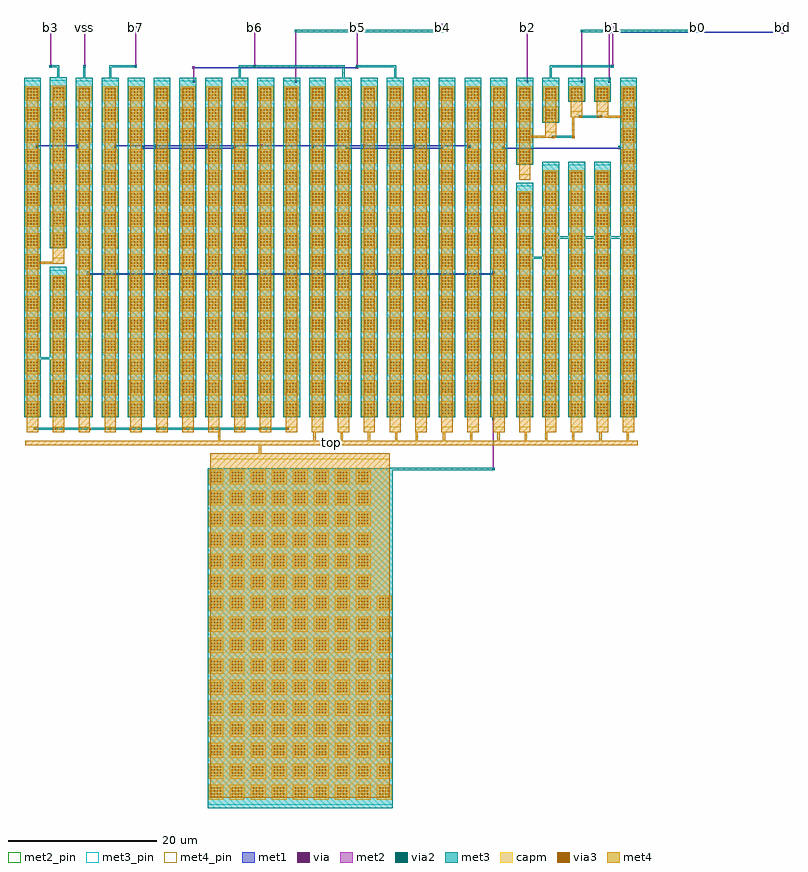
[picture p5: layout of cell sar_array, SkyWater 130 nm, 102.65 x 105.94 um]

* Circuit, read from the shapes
.subckt sar_array b0 b1 b2 b3 b4 b5 b6 b7 bd top vss
XC1 top vss sky130_fd_pr__cap_mim_m3_1 w=2 l=2 m=256
XC2 top b3 sky130_fd_pr__cap_mim_m3_1 w=2 l=1.995 m=8
XC3 top b7 sky130_fd_pr__cap_mim_m3_1 w=2 l=2 m=128
XC4 top b6 sky130_fd_pr__cap_mim_m3_1 w=2 l=2 m=64
XC5 top b5 sky130_fd_pr__cap_mim_m3_1 w=2 l=2 m=32
XC6 top b4 sky130_fd_pr__cap_mim_m3_1 w=2 l=2 m=16
XC7 top b2 sky130_fd_pr__cap_mim_m3_1 w=2 l=1.99 m=4
XC8 top b1 sky130_fd_pr__cap_mim_m3_1 w=2 l=1.975 m=2
XC9 top b0 sky130_fd_pr__cap_mim_m3_1 w=2 l=1.965
XC10 top bd sky130_fd_pr__cap_mim_m3_1 w=2 l=2
.ends

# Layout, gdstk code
import gdstk
lib = gdstk.Library(unit=1e-6, precision=1e-09)
def R(c, l, rs):  # rectangles x0, y0, x1, y1
    for r in rs: c.add(gdstk.rectangle(r[:2], r[2:], *l))
def A(c, l, x, y, w, h, nx, ny, dx, dy):  # array of equal rectangles
    R(c, l, [(x+i*dx, y+j*dy, x+i*dx+w, y+j*dy+h) for i in range(nx) for j in range(ny)])
met1 = (68, 20)
via = (68, 44)
met2_pin = (69, 16)
met2 = (69, 20)
via2 = (69, 44)
met3_pin = (70, 16)
met3 = (70, 20)
via3 = (70, 44)
met4_pin = (71, 16)
met4 = (71, 20)
capm = (89, 44)

cap_mim_m3_1_w2u_l2u_m12 = lib.new_cell('cap_mim_m3_1_w2u_l2u_m12_rows12_flip1')
R(cap_mim_m3_1_w2u_l2u_m12, met3_pin, [(-0.14,33.88,2.14,34.38)])
R(cap_mim_m3_1_w2u_l2u_m12, met3, [(-0.14,-0.14,2.14,34.38)])
A(cap_mim_m3_1_w2u_l2u_m12, via3, 0.3, 0.3, 0.2, 0.2, 4, 4, 0.4, 0.4)
A(cap_mim_m3_1_w2u_l2u_m12, via3, 0.3, 3.14, 0.2, 0.2, 4, 4, 0.4, 0.4)
A(cap_mim_m3_1_w2u_l2u_m12, via3, 0.3, 5.98, 0.2, 0.2, 4, 4, 0.4, 0.4)
A(cap_mim_m3_1_w2u_l2u_m12, via3, 0.3, 8.82, 0.2, 0.2, 4, 4, 0.4, 0.4)
A(cap_mim_m3_1_w2u_l2u_m12, via3, 0.3, 11.66, 0.2, 0.2, 4, 4, 0.4, 0.4)
A(cap_mim_m3_1_w2u_l2u_m12, via3, 0.3, 14.5, 0.2, 0.2, 4, 4, 0.4, 0.4)
A(cap_mim_m3_1_w2u_l2u_m12, via3, 0.3, 17.34, 0.2, 0.2, 4, 4, 0.4, 0.4)
A(cap_mim_m3_1_w2u_l2u_m12, via3, 0.3, 20.18, 0.2, 0.2, 4, 4, 0.4, 0.4)
A(cap_mim_m3_1_w2u_l2u_m12, via3, 0.3, 23.02, 0.2, 0.2, 4, 4, 0.4, 0.4)
A(cap_mim_m3_1_w2u_l2u_m12, via3, 0.3, 25.86, 0.2, 0.2, 4, 4, 0.4, 0.4)
A(cap_mim_m3_1_w2u_l2u_m12, via3, 0.3, 28.7, 0.2, 0.2, 4, 4, 0.4, 0.4)
A(cap_mim_m3_1_w2u_l2u_m12, via3, 0.3, 31.54, 0.2, 0.2, 4, 4, 0.4, 0.4)
R(cap_mim_m3_1_w2u_l2u_m12, met4_pin, [(0.235,-2.19,1.765,-1.39)])
R(cap_mim_m3_1_w2u_l2u_m12, met4, [(0.235,-2.19,1.765,33.005)])
A(cap_mim_m3_1_w2u_l2u_m12, capm, 0, 0, 2, 2, 1, 12, 0, 2.84)
cap_mim_m3_1_w2u_l2u_m12.add(gdstk.Label('P', (1,-1.79), layer=71, texttype=16))
cap_mim_m3_1_w2u_l2u_m12.add(gdstk.Label('N', (1,34.13), layer=70, texttype=16))

cap_mim_m3_1_w2u_l2u_m11 = lib.new_cell('cap_mim_m3_1_w2u_l2u_m11_rows11_flip1')
R(cap_mim_m3_1_w2u_l2u_m11, met3_pin, [(-0.14,31.04,2.14,31.54)])
R(cap_mim_m3_1_w2u_l2u_m11, met3, [(-0.14,-0.14,2.14,31.54)])
A(cap_mim_m3_1_w2u_l2u_m11, via3, 0.3, 0.3, 0.2, 0.2, 4, 4, 0.4, 0.4)
A(cap_mim_m3_1_w2u_l2u_m11, via3, 0.3, 3.14, 0.2, 0.2, 4, 4, 0.4, 0.4)
A(cap_mim_m3_1_w2u_l2u_m11, via3, 0.3, 5.98, 0.2, 0.2, 4, 4, 0.4, 0.4)
A(cap_mim_m3_1_w2u_l2u_m11, via3, 0.3, 8.82, 0.2, 0.2, 4, 4, 0.4, 0.4)
A(cap_mim_m3_1_w2u_l2u_m11, via3, 0.3, 11.66, 0.2, 0.2, 4, 4, 0.4, 0.4)
A(cap_mim_m3_1_w2u_l2u_m11, via3, 0.3, 14.5, 0.2, 0.2, 4, 4, 0.4, 0.4)
A(cap_mim_m3_1_w2u_l2u_m11, via3, 0.3, 17.34, 0.2, 0.2, 4, 4, 0.4, 0.4)
A(cap_mim_m3_1_w2u_l2u_m11, via3, 0.3, 20.18, 0.2, 0.2, 4, 4, 0.4, 0.4)
A(cap_mim_m3_1_w2u_l2u_m11, via3, 0.3, 23.02, 0.2, 0.2, 4, 4, 0.4, 0.4)
A(cap_mim_m3_1_w2u_l2u_m11, via3, 0.3, 25.86, 0.2, 0.2, 4, 4, 0.4, 0.4)
A(cap_mim_m3_1_w2u_l2u_m11, via3, 0.3, 28.7, 0.2, 0.2, 4, 4, 0.4, 0.4)
R(cap_mim_m3_1_w2u_l2u_m11, met4_pin, [(0.235,-2.19,1.765,-1.39)])
R(cap_mim_m3_1_w2u_l2u_m11, met4, [(0.235,-2.19,1.765,30.165)])
A(cap_mim_m3_1_w2u_l2u_m11, capm, 0, 0, 2, 2, 1, 11, 0, 2.84)
cap_mim_m3_1_w2u_l2u_m11.add(gdstk.Label('P', (1,-1.79), layer=71, texttype=16))
cap_mim_m3_1_w2u_l2u_m11.add(gdstk.Label('N', (1,31.29), layer=70, texttype=16))

pin_met2_w0p3u_l1u = lib.new_cell('pin_met2_w0p3u_l1u')
R(pin_met2_w0p3u_l1u, met2_pin, [(0,0,0.3,1)])
R(pin_met2_w0p3u_l1u, met2, [(0,0,0.3,1)])
pin_met2_w0p3u_l1u.add(gdstk.Label('P', (0.15,0.5), layer=69, texttype=16))

cap_mim_m3_1_w2u_l2u_m16 = lib.new_cell('cap_mim_m3_1_w2u_l2u_m16_rows16_flip1')
R(cap_mim_m3_1_w2u_l2u_m16, met3_pin, [(-0.14,45.24,2.14,45.74)])
R(cap_mim_m3_1_w2u_l2u_m16, met3, [(-0.14,-0.14,2.14,45.74)])
A(cap_mim_m3_1_w2u_l2u_m16, via3, 0.3, 0.3, 0.2, 0.2, 4, 4, 0.4, 0.4)
A(cap_mim_m3_1_w2u_l2u_m16, via3, 0.3, 3.14, 0.2, 0.2, 4, 4, 0.4, 0.4)
A(cap_mim_m3_1_w2u_l2u_m16, via3, 0.3, 5.98, 0.2, 0.2, 4, 4, 0.4, 0.4)
A(cap_mim_m3_1_w2u_l2u_m16, via3, 0.3, 8.82, 0.2, 0.2, 4, 4, 0.4, 0.4)
A(cap_mim_m3_1_w2u_l2u_m16, via3, 0.3, 11.66, 0.2, 0.2, 4, 4, 0.4, 0.4)
A(cap_mim_m3_1_w2u_l2u_m16, via3, 0.3, 14.5, 0.2, 0.2, 4, 4, 0.4, 0.4)
A(cap_mim_m3_1_w2u_l2u_m16, via3, 0.3, 17.34, 0.2, 0.2, 4, 4, 0.4, 0.4)
A(cap_mim_m3_1_w2u_l2u_m16, via3, 0.3, 20.18, 0.2, 0.2, 4, 4, 0.4, 0.4)
A(cap_mim_m3_1_w2u_l2u_m16, via3, 0.3, 23.02, 0.2, 0.2, 4, 4, 0.4, 0.4)
A(cap_mim_m3_1_w2u_l2u_m16, via3, 0.3, 25.86, 0.2, 0.2, 4, 4, 0.4, 0.4)
A(cap_mim_m3_1_w2u_l2u_m16, via3, 0.3, 28.7, 0.2, 0.2, 4, 4, 0.4, 0.4)
A(cap_mim_m3_1_w2u_l2u_m16, via3, 0.3, 31.54, 0.2, 0.2, 4, 4, 0.4, 0.4)
A(cap_mim_m3_1_w2u_l2u_m16, via3, 0.3, 34.38, 0.2, 0.2, 4, 4, 0.4, 0.4)
A(cap_mim_m3_1_w2u_l2u_m16, via3, 0.3, 37.22, 0.2, 0.2, 4, 4, 0.4, 0.4)
A(cap_mim_m3_1_w2u_l2u_m16, via3, 0.3, 40.06, 0.2, 0.2, 4, 4, 0.4, 0.4)
A(cap_mim_m3_1_w2u_l2u_m16, via3, 0.3, 42.9, 0.2, 0.2, 4, 4, 0.4, 0.4)
R(cap_mim_m3_1_w2u_l2u_m16, met4_pin, [(0.235,-2.19,1.765,-1.39)])
R(cap_mim_m3_1_w2u_l2u_m16, met4, [(0.235,-2.19,1.765,44.365)])
A(cap_mim_m3_1_w2u_l2u_m16, capm, 0, 0, 2, 2, 1, 16, 0, 2.84)
cap_mim_m3_1_w2u_l2u_m16.add(gdstk.Label('P', (1,-1.79), layer=71, texttype=16))
cap_mim_m3_1_w2u_l2u_m16.add(gdstk.Label('N', (1,45.49), layer=70, texttype=16))

cap_mim_m3_1_w2u_l2u_m7_ = lib.new_cell('cap_mim_m3_1_w2u_l2u_m7_rows7_flip1')
R(cap_mim_m3_1_w2u_l2u_m7_, met3_pin, [(-0.14,19.68,2.14,20.18)])
R(cap_mim_m3_1_w2u_l2u_m7_, met3, [(-0.14,-0.14,2.14,20.18)])
A(cap_mim_m3_1_w2u_l2u_m7_, via3, 0.3, 0.3, 0.2, 0.2, 4, 4, 0.4, 0.4)
A(cap_mim_m3_1_w2u_l2u_m7_, via3, 0.3, 3.14, 0.2, 0.2, 4, 4, 0.4, 0.4)
A(cap_mim_m3_1_w2u_l2u_m7_, via3, 0.3, 5.98, 0.2, 0.2, 4, 4, 0.4, 0.4)
A(cap_mim_m3_1_w2u_l2u_m7_, via3, 0.3, 8.82, 0.2, 0.2, 4, 4, 0.4, 0.4)
A(cap_mim_m3_1_w2u_l2u_m7_, via3, 0.3, 11.66, 0.2, 0.2, 4, 4, 0.4, 0.4)
A(cap_mim_m3_1_w2u_l2u_m7_, via3, 0.3, 14.5, 0.2, 0.2, 4, 4, 0.4, 0.4)
A(cap_mim_m3_1_w2u_l2u_m7_, via3, 0.3, 17.34, 0.2, 0.2, 4, 4, 0.4, 0.4)
R(cap_mim_m3_1_w2u_l2u_m7_, met4_pin, [(0.235,-2.19,1.765,-1.39)])
R(cap_mim_m3_1_w2u_l2u_m7_, met4, [(0.235,-2.19,1.765,18.805)])
A(cap_mim_m3_1_w2u_l2u_m7_, capm, 0, 0, 2, 2, 1, 7, 0, 2.84)
cap_mim_m3_1_w2u_l2u_m7_.add(gdstk.Label('P', (1,-1.79), layer=71, texttype=16))
cap_mim_m3_1_w2u_l2u_m7_.add(gdstk.Label('N', (1,19.93), layer=70, texttype=16))

cap_mim_m3_1_w2u_l1p975u = lib.new_cell('cap_mim_m3_1_w2u_l1p975u_m2_rows2_flip1')
R(cap_mim_m3_1_w2u_l1p975u, met3_pin, [(-0.14,5.43,2.14,5.93)])
R(cap_mim_m3_1_w2u_l1p975u, met3, [(-0.14,-0.14,2.14,5.93)])
A(cap_mim_m3_1_w2u_l1p975u, via3, 0.3, 0.285, 0.2, 0.2, 4, 4, 0.4, 0.4)
A(cap_mim_m3_1_w2u_l1p975u, via3, 0.3, 3.1, 0.2, 0.2, 4, 4, 0.4, 0.4)
R(cap_mim_m3_1_w2u_l1p975u, met4_pin, [(0.235,-2.19,1.765,-1.39)])
R(cap_mim_m3_1_w2u_l1p975u, met4, [(0.235,-2.19,1.765,4.565)])
R(cap_mim_m3_1_w2u_l1p975u, capm, [(0,0,2,1.975), (0,2.815,2,4.79)])
cap_mim_m3_1_w2u_l1p975u.add(gdstk.Label('P', (1,-1.79), layer=71, texttype=16))
cap_mim_m3_1_w2u_l1p975u.add(gdstk.Label('N', (1,5.68), layer=70, texttype=16))

cap_mim_m3_1_w2u_l1p995u = lib.new_cell('cap_mim_m3_1_w2u_l1p995u_m8_rows8_flip1')
R(cap_mim_m3_1_w2u_l1p995u, met3_pin, [(-0.14,22.48,2.14,22.98)])
R(cap_mim_m3_1_w2u_l1p995u, met3, [(-0.14,-0.14,2.14,22.98)])
A(cap_mim_m3_1_w2u_l1p995u, via3, 0.3, 0.295, 0.2, 0.2, 4, 4, 0.4, 0.4)
A(cap_mim_m3_1_w2u_l1p995u, via3, 0.3, 3.13, 0.2, 0.2, 4, 4, 0.4, 0.4)
A(cap_mim_m3_1_w2u_l1p995u, via3, 0.3, 5.965, 0.2, 0.2, 4, 4, 0.4, 0.4)
A(cap_mim_m3_1_w2u_l1p995u, via3, 0.3, 8.8, 0.2, 0.2, 4, 4, 0.4, 0.4)
A(cap_mim_m3_1_w2u_l1p995u, via3, 0.3, 11.635, 0.2, 0.2, 4, 4, 0.4, 0.4)
A(cap_mim_m3_1_w2u_l1p995u, via3, 0.3, 14.47, 0.2, 0.2, 4, 4, 0.4, 0.4)
A(cap_mim_m3_1_w2u_l1p995u, via3, 0.3, 17.305, 0.2, 0.2, 4, 4, 0.4, 0.4)
A(cap_mim_m3_1_w2u_l1p995u, via3, 0.3, 20.14, 0.2, 0.2, 4, 4, 0.4, 0.4)
R(cap_mim_m3_1_w2u_l1p995u, met4_pin, [(0.235,-2.19,1.765,-1.39)])
R(cap_mim_m3_1_w2u_l1p995u, met4, [(0.235,-2.19,1.765,21.605)])
A(cap_mim_m3_1_w2u_l1p995u, capm, 0, 0, 2, 1.995, 1, 8, 0, 2.835)
cap_mim_m3_1_w2u_l1p995u.add(gdstk.Label('P', (1,-1.79), layer=71, texttype=16))
cap_mim_m3_1_w2u_l1p995u.add(gdstk.Label('N', (1,22.73), layer=70, texttype=16))

cap_mim_m3_1_w2u_l2u_m1_ = lib.new_cell('cap_mim_m3_1_w2u_l2u_m1_rows1_flip1')
R(cap_mim_m3_1_w2u_l2u_m1_, met3_pin, [(-0.14,2.64,2.14,3.14)])
R(cap_mim_m3_1_w2u_l2u_m1_, met3, [(-0.14,-0.14,2.14,3.14)])
A(cap_mim_m3_1_w2u_l2u_m1_, via3, 0.3, 0.3, 0.2, 0.2, 4, 4, 0.4, 0.4)
R(cap_mim_m3_1_w2u_l2u_m1_, met4_pin, [(0.235,-2.19,1.765,-1.39)])
R(cap_mim_m3_1_w2u_l2u_m1_, met4, [(0.235,-2.19,1.765,1.765)])
R(cap_mim_m3_1_w2u_l2u_m1_, capm, [(0,0,2,2)])
cap_mim_m3_1_w2u_l2u_m1_.add(gdstk.Label('P', (1,-1.79), layer=71, texttype=16))
cap_mim_m3_1_w2u_l2u_m1_.add(gdstk.Label('N', (1,2.89), layer=70, texttype=16))

cap_mim_m3_1_w2u_l2u_m13 = lib.new_cell('cap_mim_m3_1_w2u_l2u_m138_rows16_flip0')
R(cap_mim_m3_1_w2u_l2u_m13, met3_pin, [(-0.14,-1.14,24.86,-0.64)])
R(cap_mim_m3_1_w2u_l2u_m13, met3, [(-0.14,-1.14,24.86,44.74)])
A(cap_mim_m3_1_w2u_l2u_m13, via3, 0.3, 0.3, 0.2, 0.2, 4, 4, 0.4, 0.4)
A(cap_mim_m3_1_w2u_l2u_m13, via3, 3.14, 0.3, 0.2, 0.2, 4, 4, 0.4, 0.4)
A(cap_mim_m3_1_w2u_l2u_m13, via3, 5.98, 0.3, 0.2, 0.2, 4, 4, 0.4, 0.4)
A(cap_mim_m3_1_w2u_l2u_m13, via3, 8.82, 0.3, 0.2, 0.2, 4, 4, 0.4, 0.4)
A(cap_mim_m3_1_w2u_l2u_m13, via3, 11.66, 0.3, 0.2, 0.2, 4, 4, 0.4, 0.4)
A(cap_mim_m3_1_w2u_l2u_m13, via3, 14.5, 0.3, 0.2, 0.2, 4, 4, 0.4, 0.4)
A(cap_mim_m3_1_w2u_l2u_m13, via3, 17.34, 0.3, 0.2, 0.2, 4, 4, 0.4, 0.4)
A(cap_mim_m3_1_w2u_l2u_m13, via3, 20.18, 0.3, 0.2, 0.2, 4, 4, 0.4, 0.4)
A(cap_mim_m3_1_w2u_l2u_m13, via3, 23.02, 0.3, 0.2, 0.2, 4, 4, 0.4, 0.4)
A(cap_mim_m3_1_w2u_l2u_m13, via3, 0.3, 3.14, 0.2, 0.2, 4, 4, 0.4, 0.4)
A(cap_mim_m3_1_w2u_l2u_m13, via3, 3.14, 3.14, 0.2, 0.2, 4, 4, 0.4, 0.4)
A(cap_mim_m3_1_w2u_l2u_m13, via3, 5.98, 3.14, 0.2, 0.2, 4, 4, 0.4, 0.4)
A(cap_mim_m3_1_w2u_l2u_m13, via3, 8.82, 3.14, 0.2, 0.2, 4, 4, 0.4, 0.4)
A(cap_mim_m3_1_w2u_l2u_m13, via3, 11.66, 3.14, 0.2, 0.2, 4, 4, 0.4, 0.4)
A(cap_mim_m3_1_w2u_l2u_m13, via3, 14.5, 3.14, 0.2, 0.2, 4, 4, 0.4, 0.4)
A(cap_mim_m3_1_w2u_l2u_m13, via3, 17.34, 3.14, 0.2, 0.2, 4, 4, 0.4, 0.4)
A(cap_mim_m3_1_w2u_l2u_m13, via3, 20.18, 3.14, 0.2, 0.2, 4, 4, 0.4, 0.4)
A(cap_mim_m3_1_w2u_l2u_m13, via3, 23.02, 3.14, 0.2, 0.2, 4, 4, 0.4, 0.4)
A(cap_mim_m3_1_w2u_l2u_m13, via3, 0.3, 5.98, 0.2, 0.2, 4, 4, 0.4, 0.4)
A(cap_mim_m3_1_w2u_l2u_m13, via3, 3.14, 5.98, 0.2, 0.2, 4, 4, 0.4, 0.4)
A(cap_mim_m3_1_w2u_l2u_m13, via3, 5.98, 5.98, 0.2, 0.2, 4, 4, 0.4, 0.4)
A(cap_mim_m3_1_w2u_l2u_m13, via3, 8.82, 5.98, 0.2, 0.2, 4, 4, 0.4, 0.4)
A(cap_mim_m3_1_w2u_l2u_m13, via3, 11.66, 5.98, 0.2, 0.2, 4, 4, 0.4, 0.4)
A(cap_mim_m3_1_w2u_l2u_m13, via3, 14.5, 5.98, 0.2, 0.2, 4, 4, 0.4, 0.4)
A(cap_mim_m3_1_w2u_l2u_m13, via3, 17.34, 5.98, 0.2, 0.2, 4, 4, 0.4, 0.4)
A(cap_mim_m3_1_w2u_l2u_m13, via3, 20.18, 5.98, 0.2, 0.2, 4, 4, 0.4, 0.4)
A(cap_mim_m3_1_w2u_l2u_m13, via3, 23.02, 5.98, 0.2, 0.2, 4, 4, 0.4, 0.4)
A(cap_mim_m3_1_w2u_l2u_m13, via3, 0.3, 8.82, 0.2, 0.2, 4, 4, 0.4, 0.4)
A(cap_mim_m3_1_w2u_l2u_m13, via3, 3.14, 8.82, 0.2, 0.2, 4, 4, 0.4, 0.4)
A(cap_mim_m3_1_w2u_l2u_m13, via3, 5.98, 8.82, 0.2, 0.2, 4, 4, 0.4, 0.4)
A(cap_mim_m3_1_w2u_l2u_m13, via3, 8.82, 8.82, 0.2, 0.2, 4, 4, 0.4, 0.4)
A(cap_mim_m3_1_w2u_l2u_m13, via3, 11.66, 8.82, 0.2, 0.2, 4, 4, 0.4, 0.4)
A(cap_mim_m3_1_w2u_l2u_m13, via3, 14.5, 8.82, 0.2, 0.2, 4, 4, 0.4, 0.4)
A(cap_mim_m3_1_w2u_l2u_m13, via3, 17.34, 8.82, 0.2, 0.2, 4, 4, 0.4, 0.4)
A(cap_mim_m3_1_w2u_l2u_m13, via3, 20.18, 8.82, 0.2, 0.2, 4, 4, 0.4, 0.4)
A(cap_mim_m3_1_w2u_l2u_m13, via3, 23.02, 8.82, 0.2, 0.2, 4, 4, 0.4, 0.4)
A(cap_mim_m3_1_w2u_l2u_m13, via3, 0.3, 11.66, 0.2, 0.2, 4, 4, 0.4, 0.4)
A(cap_mim_m3_1_w2u_l2u_m13, via3, 3.14, 11.66, 0.2, 0.2, 4, 4, 0.4, 0.4)
A(cap_mim_m3_1_w2u_l2u_m13, via3, 5.98, 11.66, 0.2, 0.2, 4, 4, 0.4, 0.4)
A(cap_mim_m3_1_w2u_l2u_m13, via3, 8.82, 11.66, 0.2, 0.2, 4, 4, 0.4, 0.4)
A(cap_mim_m3_1_w2u_l2u_m13, via3, 11.66, 11.66, 0.2, 0.2, 4, 4, 0.4, 0.4)
A(cap_mim_m3_1_w2u_l2u_m13, via3, 14.5, 11.66, 0.2, 0.2, 4, 4, 0.4, 0.4)
A(cap_mim_m3_1_w2u_l2u_m13, via3, 17.34, 11.66, 0.2, 0.2, 4, 4, 0.4, 0.4)
A(cap_mim_m3_1_w2u_l2u_m13, via3, 20.18, 11.66, 0.2, 0.2, 4, 4, 0.4, 0.4)
A(cap_mim_m3_1_w2u_l2u_m13, via3, 23.02, 11.66, 0.2, 0.2, 4, 4, 0.4, 0.4)
A(cap_mim_m3_1_w2u_l2u_m13, via3, 0.3, 14.5, 0.2, 0.2, 4, 4, 0.4, 0.4)
A(cap_mim_m3_1_w2u_l2u_m13, via3, 3.14, 14.5, 0.2, 0.2, 4, 4, 0.4, 0.4)
A(cap_mim_m3_1_w2u_l2u_m13, via3, 5.98, 14.5, 0.2, 0.2, 4, 4, 0.4, 0.4)
A(cap_mim_m3_1_w2u_l2u_m13, via3, 8.82, 14.5, 0.2, 0.2, 4, 4, 0.4, 0.4)
A(cap_mim_m3_1_w2u_l2u_m13, via3, 11.66, 14.5, 0.2, 0.2, 4, 4, 0.4, 0.4)
A(cap_mim_m3_1_w2u_l2u_m13, via3, 14.5, 14.5, 0.2, 0.2, 4, 4, 0.4, 0.4)
A(cap_mim_m3_1_w2u_l2u_m13, via3, 17.34, 14.5, 0.2, 0.2, 4, 4, 0.4, 0.4)
A(cap_mim_m3_1_w2u_l2u_m13, via3, 20.18, 14.5, 0.2, 0.2, 4, 4, 0.4, 0.4)
A(cap_mim_m3_1_w2u_l2u_m13, via3, 23.02, 14.5, 0.2, 0.2, 4, 4, 0.4, 0.4)
A(cap_mim_m3_1_w2u_l2u_m13, via3, 0.3, 17.34, 0.2, 0.2, 4, 4, 0.4, 0.4)
A(cap_mim_m3_1_w2u_l2u_m13, via3, 3.14, 17.34, 0.2, 0.2, 4, 4, 0.4, 0.4)
A(cap_mim_m3_1_w2u_l2u_m13, via3, 5.98, 17.34, 0.2, 0.2, 4, 4, 0.4, 0.4)
A(cap_mim_m3_1_w2u_l2u_m13, via3, 8.82, 17.34, 0.2, 0.2, 4, 4, 0.4, 0.4)
A(cap_mim_m3_1_w2u_l2u_m13, via3, 11.66, 17.34, 0.2, 0.2, 4, 4, 0.4, 0.4)
A(cap_mim_m3_1_w2u_l2u_m13, via3, 14.5, 17.34, 0.2, 0.2, 4, 4, 0.4, 0.4)
A(cap_mim_m3_1_w2u_l2u_m13, via3, 17.34, 17.34, 0.2, 0.2, 4, 4, 0.4, 0.4)
A(cap_mim_m3_1_w2u_l2u_m13, via3, 20.18, 17.34, 0.2, 0.2, 4, 4, 0.4, 0.4)
A(cap_mim_m3_1_w2u_l2u_m13, via3, 23.02, 17.34, 0.2, 0.2, 4, 4, 0.4, 0.4)
A(cap_mim_m3_1_w2u_l2u_m13, via3, 0.3, 20.18, 0.2, 0.2, 4, 4, 0.4, 0.4)
A(cap_mim_m3_1_w2u_l2u_m13, via3, 3.14, 20.18, 0.2, 0.2, 4, 4, 0.4, 0.4)
A(cap_mim_m3_1_w2u_l2u_m13, via3, 5.98, 20.18, 0.2, 0.2, 4, 4, 0.4, 0.4)
A(cap_mim_m3_1_w2u_l2u_m13, via3, 8.82, 20.18, 0.2, 0.2, 4, 4, 0.4, 0.4)
A(cap_mim_m3_1_w2u_l2u_m13, via3, 11.66, 20.18, 0.2, 0.2, 4, 4, 0.4, 0.4)
A(cap_mim_m3_1_w2u_l2u_m13, via3, 14.5, 20.18, 0.2, 0.2, 4, 4, 0.4, 0.4)
A(cap_mim_m3_1_w2u_l2u_m13, via3, 17.34, 20.18, 0.2, 0.2, 4, 4, 0.4, 0.4)
A(cap_mim_m3_1_w2u_l2u_m13, via3, 20.18, 20.18, 0.2, 0.2, 4, 4, 0.4, 0.4)
A(cap_mim_m3_1_w2u_l2u_m13, via3, 23.02, 20.18, 0.2, 0.2, 4, 4, 0.4, 0.4)
A(cap_mim_m3_1_w2u_l2u_m13, via3, 0.3, 23.02, 0.2, 0.2, 4, 4, 0.4, 0.4)
A(cap_mim_m3_1_w2u_l2u_m13, via3, 3.14, 23.02, 0.2, 0.2, 4, 4, 0.4, 0.4)
A(cap_mim_m3_1_w2u_l2u_m13, via3, 5.98, 23.02, 0.2, 0.2, 4, 4, 0.4, 0.4)
A(cap_mim_m3_1_w2u_l2u_m13, via3, 8.82, 23.02, 0.2, 0.2, 4, 4, 0.4, 0.4)
A(cap_mim_m3_1_w2u_l2u_m13, via3, 11.66, 23.02, 0.2, 0.2, 4, 4, 0.4, 0.4)
A(cap_mim_m3_1_w2u_l2u_m13, via3, 14.5, 23.02, 0.2, 0.2, 4, 4, 0.4, 0.4)
A(cap_mim_m3_1_w2u_l2u_m13, via3, 17.34, 23.02, 0.2, 0.2, 4, 4, 0.4, 0.4)
A(cap_mim_m3_1_w2u_l2u_m13, via3, 20.18, 23.02, 0.2, 0.2, 4, 4, 0.4, 0.4)
A(cap_mim_m3_1_w2u_l2u_m13, via3, 23.02, 23.02, 0.2, 0.2, 4, 4, 0.4, 0.4)
A(cap_mim_m3_1_w2u_l2u_m13, via3, 0.3, 25.86, 0.2, 0.2, 4, 4, 0.4, 0.4)
A(cap_mim_m3_1_w2u_l2u_m13, via3, 3.14, 25.86, 0.2, 0.2, 4, 4, 0.4, 0.4)
A(cap_mim_m3_1_w2u_l2u_m13, via3, 5.98, 25.86, 0.2, 0.2, 4, 4, 0.4, 0.4)
A(cap_mim_m3_1_w2u_l2u_m13, via3, 8.82, 25.86, 0.2, 0.2, 4, 4, 0.4, 0.4)
A(cap_mim_m3_1_w2u_l2u_m13, via3, 11.66, 25.86, 0.2, 0.2, 4, 4, 0.4, 0.4)
A(cap_mim_m3_1_w2u_l2u_m13, via3, 14.5, 25.86, 0.2, 0.2, 4, 4, 0.4, 0.4)
A(cap_mim_m3_1_w2u_l2u_m13, via3, 17.34, 25.86, 0.2, 0.2, 4, 4, 0.4, 0.4)
A(cap_mim_m3_1_w2u_l2u_m13, via3, 20.18, 25.86, 0.2, 0.2, 4, 4, 0.4, 0.4)
A(cap_mim_m3_1_w2u_l2u_m13, via3, 23.02, 25.86, 0.2, 0.2, 4, 4, 0.4, 0.4)
A(cap_mim_m3_1_w2u_l2u_m13, via3, 0.3, 28.7, 0.2, 0.2, 4, 4, 0.4, 0.4)
A(cap_mim_m3_1_w2u_l2u_m13, via3, 3.14, 28.7, 0.2, 0.2, 4, 4, 0.4, 0.4)
A(cap_mim_m3_1_w2u_l2u_m13, via3, 5.98, 28.7, 0.2, 0.2, 4, 4, 0.4, 0.4)
A(cap_mim_m3_1_w2u_l2u_m13, via3, 8.82, 28.7, 0.2, 0.2, 4, 4, 0.4, 0.4)
A(cap_mim_m3_1_w2u_l2u_m13, via3, 11.66, 28.7, 0.2, 0.2, 4, 4, 0.4, 0.4)
A(cap_mim_m3_1_w2u_l2u_m13, via3, 14.5, 28.7, 0.2, 0.2, 4, 4, 0.4, 0.4)
A(cap_mim_m3_1_w2u_l2u_m13, via3, 17.34, 28.7, 0.2, 0.2, 4, 4, 0.4, 0.4)
A(cap_mim_m3_1_w2u_l2u_m13, via3, 20.18, 28.7, 0.2, 0.2, 4, 4, 0.4, 0.4)
A(cap_mim_m3_1_w2u_l2u_m13, via3, 0.3, 31.54, 0.2, 0.2, 4, 4, 0.4, 0.4)
A(cap_mim_m3_1_w2u_l2u_m13, via3, 3.14, 31.54, 0.2, 0.2, 4, 4, 0.4, 0.4)
A(cap_mim_m3_1_w2u_l2u_m13, via3, 5.98, 31.54, 0.2, 0.2, 4, 4, 0.4, 0.4)
A(cap_mim_m3_1_w2u_l2u_m13, via3, 8.82, 31.54, 0.2, 0.2, 4, 4, 0.4, 0.4)
A(cap_mim_m3_1_w2u_l2u_m13, via3, 11.66, 31.54, 0.2, 0.2, 4, 4, 0.4, 0.4)
A(cap_mim_m3_1_w2u_l2u_m13, via3, 14.5, 31.54, 0.2, 0.2, 4, 4, 0.4, 0.4)
A(cap_mim_m3_1_w2u_l2u_m13, via3, 17.34, 31.54, 0.2, 0.2, 4, 4, 0.4, 0.4)
A(cap_mim_m3_1_w2u_l2u_m13, via3, 20.18, 31.54, 0.2, 0.2, 4, 4, 0.4, 0.4)
A(cap_mim_m3_1_w2u_l2u_m13, via3, 0.3, 34.38, 0.2, 0.2, 4, 4, 0.4, 0.4)
A(cap_mim_m3_1_w2u_l2u_m13, via3, 3.14, 34.38, 0.2, 0.2, 4, 4, 0.4, 0.4)
A(cap_mim_m3_1_w2u_l2u_m13, via3, 5.98, 34.38, 0.2, 0.2, 4, 4, 0.4, 0.4)
A(cap_mim_m3_1_w2u_l2u_m13, via3, 8.82, 34.38, 0.2, 0.2, 4, 4, 0.4, 0.4)
A(cap_mim_m3_1_w2u_l2u_m13, via3, 11.66, 34.38, 0.2, 0.2, 4, 4, 0.4, 0.4)
A(cap_mim_m3_1_w2u_l2u_m13, via3, 14.5, 34.38, 0.2, 0.2, 4, 4, 0.4, 0.4)
A(cap_mim_m3_1_w2u_l2u_m13, via3, 17.34, 34.38, 0.2, 0.2, 4, 4, 0.4, 0.4)
A(cap_mim_m3_1_w2u_l2u_m13, via3, 20.18, 34.38, 0.2, 0.2, 4, 4, 0.4, 0.4)
A(cap_mim_m3_1_w2u_l2u_m13, via3, 0.3, 37.22, 0.2, 0.2, 4, 4, 0.4, 0.4)
A(cap_mim_m3_1_w2u_l2u_m13, via3, 3.14, 37.22, 0.2, 0.2, 4, 4, 0.4, 0.4)
A(cap_mim_m3_1_w2u_l2u_m13, via3, 5.98, 37.22, 0.2, 0.2, 4, 4, 0.4, 0.4)
A(cap_mim_m3_1_w2u_l2u_m13, via3, 8.82, 37.22, 0.2, 0.2, 4, 4, 0.4, 0.4)
A(cap_mim_m3_1_w2u_l2u_m13, via3, 11.66, 37.22, 0.2, 0.2, 4, 4, 0.4, 0.4)
A(cap_mim_m3_1_w2u_l2u_m13, via3, 14.5, 37.22, 0.2, 0.2, 4, 4, 0.4, 0.4)
A(cap_mim_m3_1_w2u_l2u_m13, via3, 17.34, 37.22, 0.2, 0.2, 4, 4, 0.4, 0.4)
A(cap_mim_m3_1_w2u_l2u_m13, via3, 20.18, 37.22, 0.2, 0.2, 4, 4, 0.4, 0.4)
A(cap_mim_m3_1_w2u_l2u_m13, via3, 0.3, 40.06, 0.2, 0.2, 4, 4, 0.4, 0.4)
A(cap_mim_m3_1_w2u_l2u_m13, via3, 3.14, 40.06, 0.2, 0.2, 4, 4, 0.4, 0.4)
A(cap_mim_m3_1_w2u_l2u_m13, via3, 5.98, 40.06, 0.2, 0.2, 4, 4, 0.4, 0.4)
A(cap_mim_m3_1_w2u_l2u_m13, via3, 8.82, 40.06, 0.2, 0.2, 4, 4, 0.4, 0.4)
A(cap_mim_m3_1_w2u_l2u_m13, via3, 11.66, 40.06, 0.2, 0.2, 4, 4, 0.4, 0.4)
A(cap_mim_m3_1_w2u_l2u_m13, via3, 14.5, 40.06, 0.2, 0.2, 4, 4, 0.4, 0.4)
A(cap_mim_m3_1_w2u_l2u_m13, via3, 17.34, 40.06, 0.2, 0.2, 4, 4, 0.4, 0.4)
A(cap_mim_m3_1_w2u_l2u_m13, via3, 20.18, 40.06, 0.2, 0.2, 4, 4, 0.4, 0.4)
A(cap_mim_m3_1_w2u_l2u_m13, via3, 0.3, 42.9, 0.2, 0.2, 4, 4, 0.4, 0.4)
A(cap_mim_m3_1_w2u_l2u_m13, via3, 3.14, 42.9, 0.2, 0.2, 4, 4, 0.4, 0.4)
A(cap_mim_m3_1_w2u_l2u_m13, via3, 5.98, 42.9, 0.2, 0.2, 4, 4, 0.4, 0.4)
A(cap_mim_m3_1_w2u_l2u_m13, via3, 8.82, 42.9, 0.2, 0.2, 4, 4, 0.4, 0.4)
A(cap_mim_m3_1_w2u_l2u_m13, via3, 11.66, 42.9, 0.2, 0.2, 4, 4, 0.4, 0.4)
A(cap_mim_m3_1_w2u_l2u_m13, via3, 14.5, 42.9, 0.2, 0.2, 4, 4, 0.4, 0.4)
A(cap_mim_m3_1_w2u_l2u_m13, via3, 17.34, 42.9, 0.2, 0.2, 4, 4, 0.4, 0.4)
A(cap_mim_m3_1_w2u_l2u_m13, via3, 20.18, 42.9, 0.2, 0.2, 4, 4, 0.4, 0.4)
R(cap_mim_m3_1_w2u_l2u_m13, met4_pin, [(0.235,45.99,24.485,46.79)])
R(cap_mim_m3_1_w2u_l2u_m13, met4, [(0.235,0.235,24.485,46.79)])
A(cap_mim_m3_1_w2u_l2u_m13, capm, 0, 0, 2, 2, 9, 10, 2.84, 2.84)
A(cap_mim_m3_1_w2u_l2u_m13, capm, 0, 28.4, 2, 2, 8, 6, 2.84, 2.84)
cap_mim_m3_1_w2u_l2u_m13.add(gdstk.Label('P', (12.36,46.39), layer=71, texttype=16))
cap_mim_m3_1_w2u_l2u_m13.add(gdstk.Label('N', (12.36,-0.89), layer=70, texttype=16))

cap_mim_m3_1_w2u_l1p965u = lib.new_cell('cap_mim_m3_1_w2u_l1p965u_m1_rows1_flip1')
R(cap_mim_m3_1_w2u_l1p965u, met3_pin, [(-0.14,2.605,2.14,3.105)])
R(cap_mim_m3_1_w2u_l1p965u, met3, [(-0.14,-0.14,2.14,3.105)])
A(cap_mim_m3_1_w2u_l1p965u, via3, 0.3, 0.28, 0.2, 0.2, 4, 4, 0.4, 0.4)
R(cap_mim_m3_1_w2u_l1p965u, met4_pin, [(0.235,-2.19,1.765,-1.39)])
R(cap_mim_m3_1_w2u_l1p965u, met4, [(0.235,-2.19,1.765,1.745)])
R(cap_mim_m3_1_w2u_l1p965u, capm, [(0,0,2,1.965)])
cap_mim_m3_1_w2u_l1p965u.add(gdstk.Label('P', (1,-1.79), layer=71, texttype=16))
cap_mim_m3_1_w2u_l1p965u.add(gdstk.Label('N', (1,2.855), layer=70, texttype=16))

cap_mim_m3_1_w2u_l1p99u_ = lib.new_cell('cap_mim_m3_1_w2u_l1p99u_m4_rows4_flip1')
R(cap_mim_m3_1_w2u_l1p99u_, met3_pin, [(-0.14,11.12,2.14,11.62)])
R(cap_mim_m3_1_w2u_l1p99u_, met3, [(-0.14,-0.14,2.14,11.62)])
A(cap_mim_m3_1_w2u_l1p99u_, via3, 0.3, 0.295, 0.2, 0.2, 4, 4, 0.4, 0.4)
A(cap_mim_m3_1_w2u_l1p99u_, via3, 0.3, 3.125, 0.2, 0.2, 4, 4, 0.4, 0.4)
A(cap_mim_m3_1_w2u_l1p99u_, via3, 0.3, 5.955, 0.2, 0.2, 4, 4, 0.4, 0.4)
A(cap_mim_m3_1_w2u_l1p99u_, via3, 0.3, 8.785, 0.2, 0.2, 4, 4, 0.4, 0.4)
R(cap_mim_m3_1_w2u_l1p99u_, met4_pin, [(0.235,-2.19,1.765,-1.39)])
R(cap_mim_m3_1_w2u_l1p99u_, met4, [(0.235,-2.19,1.765,10.25)])
A(cap_mim_m3_1_w2u_l1p99u_, capm, 0, 0, 2, 1.99, 1, 4, 0, 2.83)
cap_mim_m3_1_w2u_l1p99u_.add(gdstk.Label('P', (1,-1.79), layer=71, texttype=16))
cap_mim_m3_1_w2u_l1p99u_.add(gdstk.Label('N', (1,11.37), layer=70, texttype=16))

pin_met4_w82p78u_l0p6u = lib.new_cell('pin_met4_w82p78u_l0p6u')
R(pin_met4_w82p78u_l0p6u, met4_pin, [(0,0,82.78,0.6)])
R(pin_met4_w82p78u_l0p6u, met4, [(0,0,82.78,0.6)])
pin_met4_w82p78u_l0p6u.add(gdstk.Label('P', (41.39,0.3), layer=71, texttype=16))

sar_array = lib.new_cell('sar_array')
A(sar_array, met1, 31.81, 36.42, 0.32, 0.26, 4, 1, 6.9, 0)
A(sar_array, met1, 31.9, 36.48, 7.04, 0.14, 3, 1, 6.9, 0)
R(sar_array, met1, [(8.35,19.08,8.67,19.34), (63.09,19.08,63.41,19.34), (8.44,19.14,63.32,19.28), (15.71,36.08,16.03,36.34), (28.13,36.08,28.45,36.34), (43.31,36.08,43.63,36.34), (56.19,36.08,56.51,36.34), (64.47,36.08,64.79,36.34), (80.11,36.08,80.43,36.34), (15.8,36.14,28.36,36.28), (43.4,36.14,56.42,36.28), (64.56,36.14,80.34,36.28), (1.45,36.42,1.77,36.68), (6.97,36.42,7.29,36.68), (12.03,36.42,12.35,36.68), (17.55,36.42,17.87,36.68), (24.45,36.42,24.77,36.68), (59.87,36.42,60.19,36.68), (1.54,36.48,7.2,36.62), (12.12,36.48,17.78,36.62), (17.64,36.48,24.68,36.62), (24.54,36.48,32.04,36.62), (52.6,36.48,60.1,36.62), (22.61,46.96,22.93,47.22), (44.69,46.96,45.01,47.22), (22.7,47.02,44.92,47.16), (78.73,51.72,79.05,51.98), (102.19,51.72,102.51,51.98), (78.82,51.78,102.42,51.92)])
A(sar_array, via, 31.895, 36.475, 0.15, 0.15, 4, 1, 6.9, 0)
R(sar_array, via, [(8.435,19.135,8.585,19.285), (63.175,19.135,63.325,19.285), (15.795,36.135,15.945,36.285), (28.215,36.135,28.365,36.285), (43.395,36.135,43.545,36.285), (56.275,36.135,56.425,36.285), (64.555,36.135,64.705,36.285), (80.195,36.135,80.345,36.285), (1.535,36.475,1.685,36.625), (7.055,36.475,7.205,36.625), (12.115,36.475,12.265,36.625), (17.635,36.475,17.785,36.625), (24.535,36.475,24.685,36.625), (59.955,36.475,60.105,36.625), (22.695,47.015,22.845,47.165), (44.775,47.015,44.925,47.165), (78.815,51.775,78.965,51.925), (102.275,51.775,102.425,51.925)])
A(sar_array, met2, 24.47, 36.195, 0.28, 0.37, 3, 1, 3.68, 0)
A(sar_array, met2, 52.53, 36.195, 0.28, 0.37, 3, 1, 3.68, 0)
A(sar_array, met2, 31.9, 36.31, 0.14, 0.31, 4, 1, 6.9, 0)
A(sar_array, met2, 31.84, 36.39, 0.26, 0.32, 4, 1, 6.9, 0)
R(sar_array, met2, [(63.11,-7.325,63.39,-6.955), (63.18,-7.21,63.32,-0.27), (63.11,-0.525,63.39,-0.155), (8.38,19.05,8.64,19.37), (63.12,19.05,63.38,19.37), (8.44,19.14,8.58,19.45), (63.18,19.14,63.32,19.45), (8.37,19.195,8.65,19.565), (63.11,19.195,63.39,19.565), (15.74,36.05,16,36.37), (28.16,36.05,28.42,36.37), (43.34,36.05,43.6,36.37), (56.22,36.05,56.48,36.37), (64.5,36.05,64.76,36.37), (80.14,36.05,80.4,36.37), (15.8,36.14,15.94,36.45), (28.22,36.14,28.36,36.45), (43.4,36.14,43.54,36.45), (56.28,36.14,56.42,36.45), (64.56,36.14,64.7,36.45), (80.2,36.14,80.34,36.45), (1.47,36.195,1.75,36.565), (6.99,36.195,7.27,36.565), (12.05,36.195,12.33,36.565), (15.73,36.195,16.01,36.565), (17.57,36.195,17.85,36.565), (38.73,36.195,39.01,36.565), (43.33,36.195,43.61,36.565), (45.63,36.195,45.91,36.565), (64.49,36.195,64.77,36.565), (80.13,36.195,80.41,36.565), (1.54,36.31,1.68,36.62), (7.06,36.31,7.2,36.62), (12.12,36.31,12.26,36.62), (17.64,36.31,17.78,36.62), (24.54,36.31,24.68,36.62), (59.96,36.31,60.1,36.62), (1.48,36.39,1.74,36.71), (7,36.39,7.26,36.71), (12.06,36.39,12.32,36.71), (17.58,36.39,17.84,36.71), (24.48,36.39,24.74,36.71), (59.9,36.39,60.16,36.71), (22.63,45.035,22.91,45.405), (36.43,45.035,36.71,45.405), (67.71,45.035,67.99,45.405), (75.07,45.035,75.35,45.405), (78.75,45.035,79.03,45.405), (22.7,45.15,22.84,47.16), (36.5,45.15,36.64,52.09), (67.78,45.15,67.92,52.09), (75.14,45.15,75.28,52.09), (78.82,45.15,78.96,51.92), (22.64,46.93,22.9,47.25), (44.72,46.93,44.98,47.25), (3.31,47.075,3.59,47.445), (7.91,47.075,8.19,47.445), (14.81,47.075,15.09,47.445), (30.91,47.075,31.19,47.445), (44.71,47.075,44.99,47.445), (79.21,47.075,79.49,47.445), (3.38,47.19,3.52,52.09), (7.98,47.19,8.12,52.09), (14.88,47.19,15.02,52.09), (30.98,47.19,31.12,52.09), (44.78,47.19,44.92,52.09), (79.28,47.19,79.42,52.09), (78.76,51.69,79.02,52.01), (102.22,51.69,102.48,52.01), (102.28,51.78,102.42,52.09), (36.43,51.835,36.71,52.205), (56.21,51.835,56.49,52.205), (75.07,51.835,75.35,52.205), (90.71,51.835,90.99,52.205)])
A(sar_array, via2, 24.51, 36.28, 0.2, 0.2, 3, 1, 3.68, 0)
A(sar_array, via2, 52.57, 36.28, 0.2, 0.2, 3, 1, 3.68, 0)
R(sar_array, via2, [(63.15,-7.24,63.35,-7.04), (63.15,-0.44,63.35,-0.24), (8.41,19.28,8.61,19.48), (63.15,19.28,63.35,19.48), (1.51,36.28,1.71,36.48), (7.03,36.28,7.23,36.48), (12.09,36.28,12.29,36.48), (15.77,36.28,15.97,36.48), (17.61,36.28,17.81,36.48), (38.77,36.28,38.97,36.48), (43.37,36.28,43.57,36.48), (45.67,36.28,45.87,36.48), (64.53,36.28,64.73,36.48), (80.17,36.28,80.37,36.48), (22.67,45.12,22.87,45.32), (36.47,45.12,36.67,45.32), (67.75,45.12,67.95,45.32), (75.11,45.12,75.31,45.32), (78.79,45.12,78.99,45.32), (3.35,47.16,3.55,47.36), (7.95,47.16,8.15,47.36), (14.85,47.16,15.05,47.36), (30.95,47.16,31.15,47.36), (44.75,47.16,44.95,47.36), (79.25,47.16,79.45,47.36), (36.47,51.92,36.67,52.12), (56.25,51.92,56.45,52.12), (75.11,51.92,75.31,52.12), (90.75,51.92,90.95,52.12)])
A(sar_array, met3, 8.55, -1.86, 0.38, 0.32, 3, 1, 2.76, 0)
A(sar_array, met3, 17.75, -1.86, 0.38, 0.32, 4, 1, 3.68, 0)
A(sar_array, met3, 14.11, -1.85, 3.98, 0.3, 4, 1, 3.68, 0)
A(sar_array, met3, 24.445, 36.215, 0.33, 0.33, 3, 1, 3.68, 0)
A(sar_array, met3, 52.505, 36.215, 0.33, 0.33, 3, 1, 3.68, 0)
R(sar_array, met3, [(63.085,-7.305,63.415,-6.975), (49.3,-7.29,57.88,-6.99), (57.58,-7.29,63.4,-6.99), (1.19,-1.86,1.57,-1.54), (3.95,-1.86,4.33,-1.54), (31.55,-1.86,31.93,-1.54), (35.23,-1.86,35.61,-1.54), (1.23,-1.85,8.89,-1.55), (8.59,-1.85,11.65,-1.55), (11.35,-1.85,14.41,-1.55), (28.83,-1.85,31.89,-1.55), (31.59,-1.85,35.57,-1.55), (63.085,-0.505,63.415,-0.175), (63.1,-0.49,63.4,0.49), (63.085,-0.175,63.415,-0.14), (1.92,7.67,3.6,7.97), (8.345,19.215,8.675,19.545), (63.085,19.215,63.415,19.545), (68.39,21.27,70.3,21.57), (71.84,23.99,73.52,24.29), (75.06,23.99,77.2,24.29), (78.74,23.99,80.65,24.29), (1.445,36.215,1.775,36.545), (6.965,36.215,7.295,36.545), (12.025,36.215,12.355,36.545), (15.705,36.215,16.035,36.545), (17.545,36.215,17.875,36.545), (38.705,36.215,39.035,36.545), (43.305,36.215,43.635,36.545), (45.605,36.215,45.935,36.545), (64.465,36.215,64.795,36.545), (80.105,36.215,80.435,36.545), (80.12,36.23,80.65,36.53), (71.11,37.58,71.49,37.9), (73.87,37.58,74.25,37.9), (71.15,37.59,74.21,37.89), (74.79,40.3,75.17,40.62), (77.55,40.3,77.93,40.62), (74.83,40.31,77.89,40.61), (22.605,45.055,22.935,45.385), (36.405,45.055,36.735,45.385), (67.685,45.055,68.015,45.385), (75.045,45.055,75.375,45.385), (78.725,45.055,79.055,45.385), (70.85,45.33,71.15,47.41), (7.85,45.34,8.15,47.41), (11.35,45.34,11.65,47.41), (28.85,45.34,29.15,47.41), (42.85,45.34,43.15,47.41), (49.85,45.34,50.15,47.41), (4.35,45.38,4.65,47.41), (3.285,47.095,3.615,47.425), (7.885,47.095,8.215,47.425), (14.785,47.095,15.115,47.425), (30.885,47.095,31.215,47.425), (44.685,47.095,45.015,47.425), (79.185,47.095,79.515,47.425), (3.3,47.11,4.06,47.41), (3.76,47.11,4.65,47.41), (7.85,47.11,8.2,47.41), (11.35,47.11,13.49,47.41), (13.19,47.11,15.1,47.41), (28.85,47.11,30.05,47.41), (29.75,47.11,31.2,47.41), (30.9,47.11,42.93,47.41), (42.63,47.11,43.15,47.41), (44.7,47.11,50.06,47.41), (49.76,47.11,50.15,47.41), (70.85,47.11,71.68,47.41), (71.38,47.11,79.5,47.41), (36.405,51.855,36.735,52.185), (56.185,51.855,56.515,52.185), (75.045,51.855,75.375,52.185), (90.685,51.855,91.015,52.185), (36.42,51.87,56.5,52.17), (75.06,51.87,91,52.17)])
A(sar_array, via3, 8.64, -1.8, 0.2, 0.2, 3, 1, 2.76, 0)
A(sar_array, via3, 17.84, -1.8, 0.2, 0.2, 4, 1, 3.68, 0)
R(sar_array, via3, [(1.28,-1.8,1.48,-1.6), (4.04,-1.8,4.24,-1.6), (31.64,-1.8,31.84,-1.6), (35.32,-1.8,35.52,-1.6), (71.2,37.64,71.4,37.84), (73.96,37.64,74.16,37.84), (74.88,40.36,75.08,40.56), (77.64,40.36,77.84,40.56)])
A(sar_array, met4, 38.95, -3.89, 0.3, 2.34, 4, 1, 3.68, 0)
A(sar_array, met4, 52.75, -3.89, 0.3, 2.34, 5, 1, 3.68, 0)
A(sar_array, met4, 70.23, -3.89, 0.3, 2.34, 4, 1, 3.68, 0)
A(sar_array, met4, 8.575, -1.865, 0.33, 0.33, 3, 1, 2.76, 0)
A(sar_array, met4, 17.775, -1.865, 0.33, 0.33, 4, 1, 3.68, 0)
A(sar_array, met4, 1.23, 20.59, 1.22, 0.3, 3, 1, 0.92, 0)
A(sar_array, met4, 67.47, 37.59, 1.22, 0.3, 3, 1, 0.92, 0)
A(sar_array, met4, 78.51, 40.31, 1.22, 0.3, 3, 1, 0.92, 0)
R(sar_array, met4, [(31.59,-5.25,31.89,-3.59), (26.07,-3.89,26.37,-1.55), (1.215,-1.865,1.545,-1.535), (3.975,-1.865,4.305,-1.535), (31.575,-1.865,31.905,-1.535), (35.255,-1.865,35.585,-1.535), (71.135,37.575,71.465,37.905), (73.895,37.575,74.225,37.905), (73.91,37.59,74.21,40.61), (74.815,40.295,75.145,40.625), (77.575,40.295,77.905,40.625)])
sar_array.add(gdstk.Reference(cap_mim_m3_1_w2u_l2u_m12, (77,0)))
sar_array.add(gdstk.Reference(cap_mim_m3_1_w2u_l2u_m12, (70,0)))
sar_array.add(gdstk.Reference(cap_mim_m3_1_w2u_l2u_m11, (66.5,0)))
sar_array.add(gdstk.Reference(pin_met2_w0p3u_l1u, (7.9,52)))
sar_array.add(gdstk.Reference(pin_met2_w0p3u_l1u, (67.7,52)))
sar_array.add(gdstk.Reference(pin_met2_w0p3u_l1u, (56.2,52)))
sar_array.add(gdstk.Reference(cap_mim_m3_1_w2u_l2u_m16, (42,0)))
sar_array.add(gdstk.Reference(cap_mim_m3_1_w2u_l2u_m16, (17.5,0)))
sar_array.add(gdstk.Reference(cap_mim_m3_1_w2u_l2u_m16, (38.5,0)))
sar_array.add(gdstk.Reference(cap_mim_m3_1_w2u_l2u_m16, (35,0)))
sar_array.add(gdstk.Reference(cap_mim_m3_1_w2u_l2u_m7_, (3.5,0)))
sar_array.add(gdstk.Reference(cap_mim_m3_1_w2u_l2u_m16, (31.5,0)))
sar_array.add(gdstk.Reference(cap_mim_m3_1_w2u_l2u_m16, (10.5,0)))
sar_array.add(gdstk.Reference(cap_mim_m3_1_w2u_l2u_m16, (24.5,0)))
sar_array.add(gdstk.Reference(pin_met2_w0p3u_l1u, (79.2,52)))
sar_array.add(gdstk.Reference(cap_mim_m3_1_w2u_l2u_m16, (0,0)))
sar_array.add(gdstk.Reference(pin_met2_w0p3u_l1u, (3.3,52)))
sar_array.add(gdstk.Reference(cap_mim_m3_1_w2u_l2u_m16, (21,0)))
sar_array.add(gdstk.Reference(cap_mim_m3_1_w2u_l1p975u, (70,39.8)))
sar_array.add(gdstk.Reference(cap_mim_m3_1_w2u_l2u_m16, (14,0)))
sar_array.add(gdstk.Reference(cap_mim_m3_1_w2u_l2u_m12, (73.5,0)))
sar_array.add(gdstk.Reference(cap_mim_m3_1_w2u_l1p995u, (3.5,22.8)))
sar_array.add(gdstk.Reference(pin_met2_w0p3u_l1u, (102.2,52)))
sar_array.add(gdstk.Reference(cap_mim_m3_1_w2u_l2u_m16, (59.5,0)))
sar_array.add(gdstk.Reference(cap_mim_m3_1_w2u_l2u_m16, (28,0)))
sar_array.add(gdstk.Reference(cap_mim_m3_1_w2u_l2u_m1_, (77,42.6)))
sar_array.add(gdstk.Reference(cap_mim_m3_1_w2u_l2u_m13, (24.8,-51.8)))
sar_array.add(gdstk.Reference(cap_mim_m3_1_w2u_l2u_m16, (45.5,0)))
sar_array.add(gdstk.Reference(cap_mim_m3_1_w2u_l2u_m16, (80.5,0)))
sar_array.add(gdstk.Reference(pin_met2_w0p3u_l1u, (90.7,52)))
sar_array.add(gdstk.Reference(cap_mim_m3_1_w2u_l2u_m16, (49,0)))
sar_array.add(gdstk.Reference(cap_mim_m3_1_w2u_l2u_m16, (56,0)))
sar_array.add(gdstk.Reference(cap_mim_m3_1_w2u_l2u_m16, (52.5,0)))
sar_array.add(gdstk.Reference(cap_mim_m3_1_w2u_l1p965u, (73.5,42.6)))
sar_array.add(gdstk.Reference(cap_mim_m3_1_w2u_l1p99u_, (66.5,34.1)))
sar_array.add(gdstk.Reference(pin_met4_w82p78u_l0p6u, (0,-3.9)))
sar_array.add(gdstk.Reference(pin_met2_w0p3u_l1u, (44.7,52)))
sar_array.add(gdstk.Reference(cap_mim_m3_1_w2u_l2u_m16, (63,0)))
sar_array.add(gdstk.Reference(pin_met2_w0p3u_l1u, (14.8,52)))
sar_array.add(gdstk.Reference(cap_mim_m3_1_w2u_l2u_m16, (7,0)))
sar_array.add(gdstk.Reference(pin_met2_w0p3u_l1u, (30.9,52)))
sar_array.add(gdstk.Label('top', (41.39,-3.6), layer=71, texttype=16))
sar_array.add(gdstk.Label('bd', (102.35,52.5), layer=69, texttype=16))
sar_array.add(gdstk.Label('b2', (67.85,52.5), layer=69, texttype=16))
sar_array.add(gdstk.Label('b0', (90.85,52.5), layer=69, texttype=16))
sar_array.add(gdstk.Label('b3', (3.45,52.5), layer=69, texttype=16))
sar_array.add(gdstk.Label('b4', (56.35,52.5), layer=69, texttype=16))
sar_array.add(gdstk.Label('b1', (79.35,52.5), layer=69, texttype=16))
sar_array.add(gdstk.Label('b5', (44.85,52.5), layer=69, texttype=16))
sar_array.add(gdstk.Label('b6', (31.05,52.5), layer=69, texttype=16))
sar_array.add(gdstk.Label('b7', (14.95,52.5), layer=69, texttype=16))
sar_array.add(gdstk.Label('vss', (8.05,52.5), layer=69, texttype=16))

lib.write_gds('sar_array.gds')
